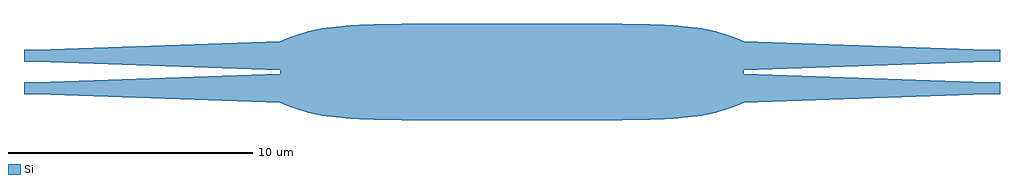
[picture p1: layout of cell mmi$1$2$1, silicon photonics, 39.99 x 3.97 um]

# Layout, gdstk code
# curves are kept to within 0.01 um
import gdstk
lib = gdstk.Library(unit=1e-6, precision=1e-09)
def R(c, l, rs):  # rectangles x0, y0, x1, y1
    for r in rs: c.add(gdstk.rectangle(r[:2], r[2:], *l))
def P(c, l, *ps):  # polygons
    for p in ps: c.add(gdstk.Polygon(p, *l))
Si = (1, 0)

left_upper_waveguide_1_2 = lib.new_cell('left$upper$waveguide$1$2$1')
R(left_upper_waveguide_1_2, Si, [(-19.997,0.417,-19.497,0.917)])

left_lower_taper_1_2_1 = lib.new_cell('left$lower$taper$1$2$1')
P(left_lower_taper_1_2_1, Si, [(-9.5,-1.265),(-19.497,-0.917),(-19.497,-0.417),(-9.5,-0.07)])

left_lower_waveguide_1_2 = lib.new_cell('left$lower$waveguide$1$2$1')
R(left_lower_waveguide_1_2, Si, [(-19.997,-0.917,-19.497,-0.417)])

left_upper_taper_1_2_1 = lib.new_cell('left$upper$taper$1$2$1')
P(left_upper_taper_1_2_1, Si, [(-9.5,0.07),(-19.497,0.417),(-19.497,0.917),(-9.5,1.265)])

right_upper_waveguide_1_ = lib.new_cell('right$upper$waveguide$1$2$1')
R(right_upper_waveguide_1_, Si, [(19.497,0.417,19.997,0.917)])

right_lower_taper_1_2_1 = lib.new_cell('right$lower$taper$1$2$1')
P(right_lower_taper_1_2_1, Si, [(9.5,-1.265),(9.5,-0.07),(19.497,-0.417),(19.497,-0.917)])

right_lower_waveguide_1_ = lib.new_cell('right$lower$waveguide$1$2$1')
R(right_lower_waveguide_1_, Si, [(19.497,-0.917,19.997,-0.417)])

right_upper_taper_1_2_1 = lib.new_cell('right$upper$taper$1$2$1')
P(right_upper_taper_1_2_1, Si, [(9.5,0.07),(9.5,1.265),(19.497,0.917),(19.497,0.417)])

mmi_1_2_1 = lib.new_cell('MMI$1$2$1')
P(mmi_1_2_1, Si, [(-0.096,-1.987),(-5.086,-1.961),(-6.621,-1.912),(-7.389,-1.841),(-7.965,-1.749),(-8.54,-1.613),(-9.116,-1.425),(-9.5,-1.265),(-9.5,1.265),(-8.924,1.494),(-8.348,1.664),(-7.581,1.814),(-6.813,1.899),(-6.045,1.939),(-4.51,1.967),(-0.096,1.987),(5.086,1.961),(6.621,1.912),(7.197,1.863),(7.773,1.784),(8.348,1.664),(8.732,1.557),(9.116,1.425),(9.5,1.265),(9.5,-1.265),(8.924,-1.494),(8.348,-1.664),(7.773,-1.784),(7.005,-1.883),(6.429,-1.923),(4.51,-1.967)])

c_mmi_1_2_1 = lib.new_cell('mmi$1$2$1')
c_mmi_1_2_1.add(gdstk.Reference(left_upper_waveguide_1_2, (0,0)))
c_mmi_1_2_1.add(gdstk.Reference(left_lower_taper_1_2_1, (0,0)))
c_mmi_1_2_1.add(gdstk.Reference(left_lower_waveguide_1_2, (0,0)))
c_mmi_1_2_1.add(gdstk.Reference(left_upper_taper_1_2_1, (0,0)))
c_mmi_1_2_1.add(gdstk.Reference(right_upper_waveguide_1_, (0,0)))
c_mmi_1_2_1.add(gdstk.Reference(right_lower_taper_1_2_1, (0,0)))
c_mmi_1_2_1.add(gdstk.Reference(right_lower_waveguide_1_, (0,0)))
c_mmi_1_2_1.add(gdstk.Reference(right_upper_taper_1_2_1, (0,0)))
c_mmi_1_2_1.add(gdstk.Reference(mmi_1_2_1, (0,0)))

lib.write_gds('mmi_1_2_1.gds')
